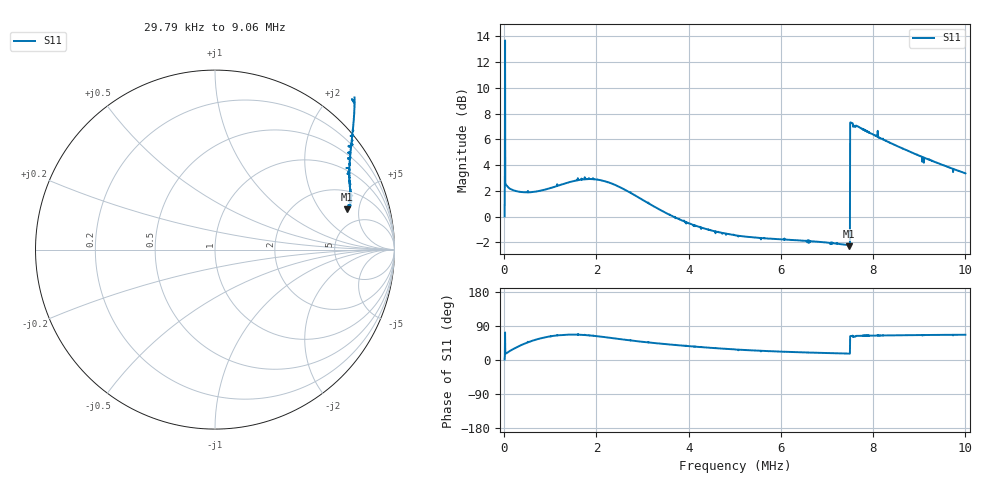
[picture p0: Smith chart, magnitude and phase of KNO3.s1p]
# HZ S RI R 50
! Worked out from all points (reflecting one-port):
!   2020 points, 10 kHz to 10 MHz, reference 50 ohm
!   lowest |S11| = -2.3 dB at 7.472 MHz (marker M1), VSWR 7.61, Z = 170 + j185 ohm
!   phase of S11 starts at 1 deg and turns +65 deg over the sweep
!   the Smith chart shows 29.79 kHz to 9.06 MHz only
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10000  1.002 0.0232
64428  1.241 0.4338
69376  1.233 0.4421
74324  1.228 0.4494
287088  1.031 0.7127
539436  0.8362 0.9194
905588  0.6331 1.108
1098560  0.5686 1.176
1261844  0.5404 1.221
1578516  0.5431 1.271
1885292  0.6027 1.262
2172276  0.6762 1.196
2508740  0.7426 1.067
3181668  0.777 0.7955
3760584  0.7629 0.6202
4334552  0.7509 0.4958
5007480  0.7482 0.3933
6254376  0.7572 0.2912
7446844  0.741 0.227
7471584  0.7343 0.224
7506220  1.044 2.073
7550752  1.029 2.056
7615076  1.038 1.985
7679400  0.9898 2.004
7946592  0.9162 1.898
8753116  0.7453 1.64
9114320  0.6901 1.544
1.000001e7  0.5844 1.351
